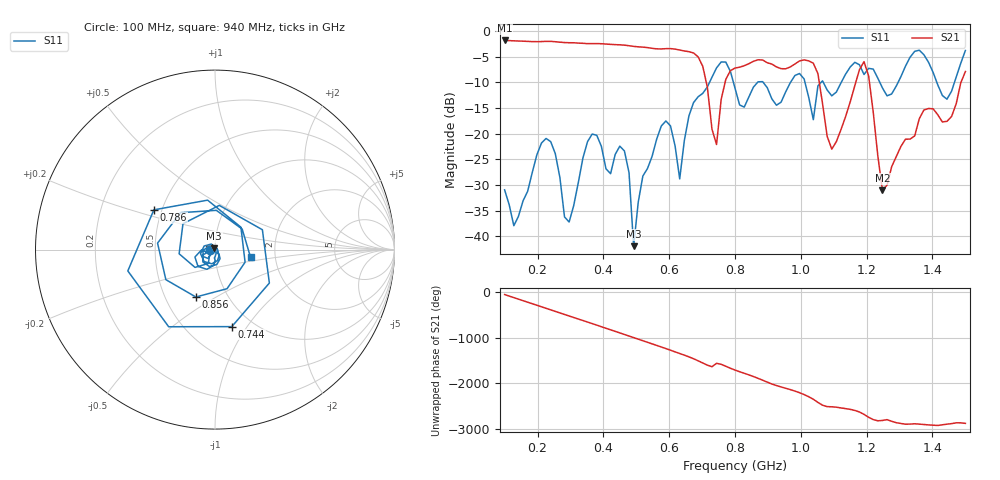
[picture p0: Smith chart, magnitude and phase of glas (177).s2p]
! NanoVNA-App
! Date: 2025-09-25 15:56:51
! Start: 100MHz Stop: 1,5GHz Points: 101
! S-Parameter data: F S11 S21 S12 S22
# Hz S RI R 50
!  Frequency  S11_Real  S11_Imag  S21_Real  S21_Imag  S12_Real  S12_Imag  S22_Real  S22_Imag
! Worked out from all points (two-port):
!   101 points, 100 MHz to 1.5 GHz, reference 50 ohm
!   highest |S21| = -1.80 dB at 100 MHz (marker M1); lowest = -31.1 dB at 1.248 GHz (marker M2)
!   |S21| within 3 dB of the highest: start of sweep to 684.3 MHz
!   lowest |S11| = -41.9 dB at 492 MHz (marker M3), VSWR 1.02, Z = 49.5 + j0.628 ohm
!   |S11| at or under -10 dB: start of sweep to 722.4 MHz; 795.3 MHz to 868.3 MHz (72.96 MHz wide, 8.77 % of centre); 885.9 MHz to 968.5 MHz (82.56 MHz wide, 8.9 % of centre) (the widest 3 of 7)
!   S12 and S22 are empty: the file has one direction only
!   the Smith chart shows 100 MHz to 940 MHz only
!   S11 on the Smith chart (normalised r, x): 100 MHz: 0.95, -0.01; 744 MHz: 0.80, -0.85; 786 MHz: 0.45, +0.24; 856 MHz: 0.71, -0.41; 940 MHz: 1.49, -0.14
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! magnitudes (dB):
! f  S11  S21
! 100 MHz  -31.0  -1.8
! 128 MHz  -38.0  -1.9
! 226 MHz  -20.9  -2.0
! 296 MHz  -37.2  -2.2
! 338 MHz  -24.7  -2.4
! 464 MHz  -23.4  -2.7
! 492 MHz  -41.9  -3.0
! 576 MHz  -18.5  -3.5
! 632 MHz  -28.8  -3.7
! 702 MHz  -12.1  -6.8
! 744 MHz  -7.1  -22.1
! 786 MHz  -7.8  -7.7
! 800 MHz  -11.1  -7.2
! 856 MHz  -10.9  -5.9
! 940 MHz  -13.8  -7.3
! 996 MHz  -8.3  -5.8
! 1.038 GHz  -17.3  -6.2
! 1.094 GHz  -12.6  -23.0
! 1.192 GHz  -8.4  -5.9
! 1.248 GHz  -11.1  -31.1
! 1.276 GHz  -12.2  -26.4
! 1.5 GHz  -3.8  -7.9
